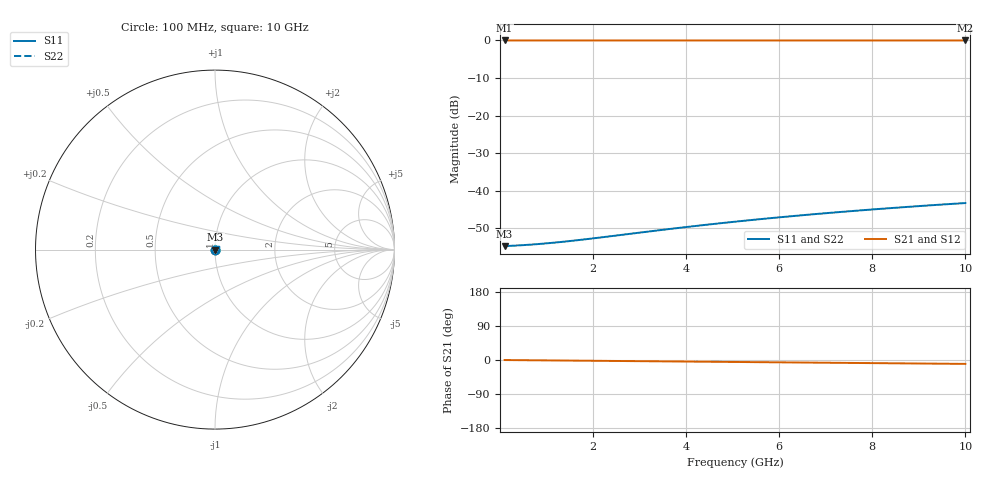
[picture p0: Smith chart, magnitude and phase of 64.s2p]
# Hz S RI R 50.00
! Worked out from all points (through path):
!   100 points, 100 MHz to 10 GHz, reference 50 ohm
!   highest |S21| = -0.02 dB at 100 MHz (marker M1); lowest = 0.0 dB at 10 GHz (marker M2)
!   group delay of S21, straight-line fit = 2.85 ps
!   lowest |S11| = -54.8 dB at 100 MHz (marker M3), VSWR 1.00, Z = 50.2 + j0.00635 ohm
!   |S11| at or under -10 dB: start of sweep to end of sweep
!   |S22| runs from -54.8 to -43.3 dB; largest |S21 - S12| = 0
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1e8  0.00182 6.32e-05  0.9982 -0.00179  0.9982 -0.00179  0.00182 6.32e-05
5e8  0.00185 0.000316  0.9981 -0.00893  0.9981 -0.00893  0.00185 0.000316
7e8  0.00187 0.000442  0.998 -0.0125  0.998 -0.0125  0.00187 0.000442
9e8  0.00188 0.000568  0.998 -0.0161  0.998 -0.0161  0.00188 0.000568
1.1e9  0.00189 0.000694  0.9979 -0.0197  0.9979 -0.0197  0.00189 0.000694
1.3e9  0.0019 0.00082  0.9978 -0.0232  0.9978 -0.0232  0.0019 0.00082
1.5e9  0.00191 0.000945  0.9977 -0.0268  0.9977 -0.0268  0.00191 0.000945
1.8e9  0.00193 0.00113  0.9976 -0.0322  0.9976 -0.0322  0.00193 0.00113
2.2e9  0.00195 0.00138  0.9973 -0.0393  0.9973 -0.0393  0.00195 0.00138
3.4e9  0.00205 0.00213  0.9962 -0.0607  0.9962 -0.0607  0.00205 0.00213
3.9e9  0.0021 0.00244  0.9956 -0.0696  0.9956 -0.0696  0.0021 0.00244
4.3e9  0.00214 0.00269  0.995 -0.0768  0.995 -0.0768  0.00214 0.00269
4.7e9  0.00218 0.00293  0.9945 -0.0839  0.9945 -0.0839  0.00218 0.00293
5.1e9  0.00223 0.00318  0.9938 -0.091  0.9938 -0.091  0.00223 0.00318
5.5e9  0.00229 0.00342  0.9931 -0.0982  0.9931 -0.0982  0.00229 0.00342
5.9e9  0.00234 0.00367  0.9924 -0.1053  0.9924 -0.1053  0.00234 0.00367
6.3e9  0.0024 0.00391  0.9916 -0.1124  0.9916 -0.1124  0.0024 0.00391
6.7e9  0.00247 0.00415  0.9907 -0.1195  0.9907 -0.1195  0.00247 0.00415
7.5e9  0.0026 0.00462  0.9889 -0.1337  0.9889 -0.1337  0.0026 0.00462
8.4e9  0.00277 0.00516  0.9866 -0.1497  0.9866 -0.1497  0.00277 0.00516
9.2e9  0.00294 0.00562  0.9843 -0.1639  0.9843 -0.1639  0.00294 0.00562
1e10  0.00312 0.00608  0.9818 -0.178  0.9818 -0.178  0.00312 0.00608
